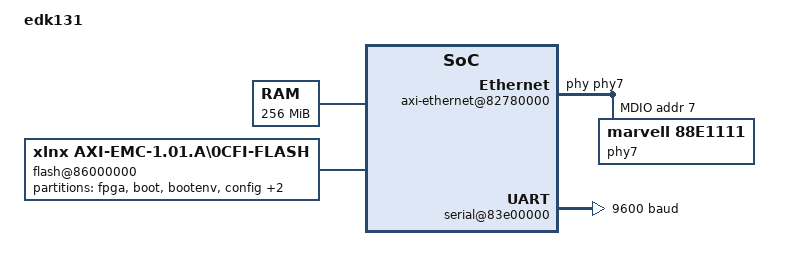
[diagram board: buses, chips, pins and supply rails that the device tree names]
/*
 * Copyright (c) 2020 Xilinx Inc.
 * Written by Edgar E. Iglesias <edgar.iglesias@xilinx.com>.
 *
 * SPDX-License-Identifier:     GPL-2.0+
 */

/dts-v1/;

/ {
	#address-cells = < 0x01 >;
	#size-cells = < 0x01 >;
	compatible = "xlnx,microblaze";
	model = "edk131";

	memory@50000000 {
		device_type = "memory";
		reg = < 0x50000000 0x10000000 >;
	};

	aliases {
		ethernet0 = "/axi/axi-ethernet@82780000";
		serial0 = "/axi/serial@83e00000";
	};

	chosen {
		bootargs = " console=ttyS0,115200 ";
		stdout-path = "/axi/serial@83e00000";
	};

	cpus {
		#address-cells = < 0x01 >;
		#cpus = < 0x01 >;
		#size-cells = < 0x00 >;

		cpu@0 {
			clock-frequency = < 0xbebc200 >;
			compatible = "xlnx,microblaze-8.10.a";
			d-cache-baseaddr = < 0x50000000 >;
			d-cache-highaddr = < 0x5fffffff >;
			d-cache-line-size = < 0x20 >;
			d-cache-size = < 0x800 >;
			device_type = "cpu";
			i-cache-baseaddr = < 0x50000000 >;
			i-cache-highaddr = < 0x5fffffff >;
			i-cache-line-size = < 0x20 >;
			i-cache-size = < 0x800 >;
			model = "microblaze,8.10.a";
			reg = < 0x00 >;
			timebase-frequency = < 0xbebc200 >;
			xlnx,addr-tag-bits = < 0x11 >;
			xlnx,allow-dcache-wr = < 0x01 >;
			xlnx,allow-icache-wr = < 0x01 >;
			xlnx,area-optimized = < 0x00 >;
			xlnx,branch-target-cache-size = < 0x00 >;
			xlnx,cache-byte-size = < 0x800 >;
			xlnx,d-axi = < 0x01 >;
			xlnx,d-lmb = < 0x01 >;
			xlnx,d-plb = < 0x00 >;
			xlnx,data-size = < 0x20 >;
			xlnx,dcache-addr-tag = < 0x11 >;
			xlnx,dcache-always-used = < 0x01 >;
			xlnx,dcache-byte-size = < 0x800 >;
			xlnx,dcache-data-width = < 0x00 >;
			xlnx,dcache-force-tag-lutram = < 0x00 >;
			xlnx,dcache-interface = < 0x01 >;
			xlnx,dcache-line-len = < 0x08 >;
			xlnx,dcache-use-fsl = < 0x00 >;
			xlnx,dcache-use-writeback = < 0x01 >;
			xlnx,dcache-victims = < 0x00 >;
			xlnx,debug-enabled = < 0x01 >;
			xlnx,div-zero-exception = < 0x01 >;
			xlnx,dynamic-bus-sizing = < 0x01 >;
			xlnx,ecc-use-ce-exception = < 0x00 >;
			xlnx,edge-is-positive = < 0x01 >;
			xlnx,endianness = < 0x01 >;
			xlnx,family = "virtex6";
			xlnx,fault-tolerant = < 0x00 >;
			xlnx,fpu-exception = < 0x01 >;
			xlnx,freq = < 0xbebc200 >;
			xlnx,fsl-data-size = < 0x20 >;
			xlnx,fsl-exception = < 0x00 >;
			xlnx,fsl-links = < 0x00 >;
			xlnx,i-axi = < 0x01 >;
			xlnx,i-lmb = < 0x01 >;
			xlnx,i-plb = < 0x00 >;
			xlnx,icache-always-used = < 0x01 >;
			xlnx,icache-data-width = < 0x00 >;
			xlnx,icache-force-tag-lutram = < 0x00 >;
			xlnx,icache-interface = < 0x00 >;
			xlnx,icache-line-len = < 0x08 >;
			xlnx,icache-streams = < 0x00 >;
			xlnx,icache-use-fsl = < 0x00 >;
			xlnx,icache-victims = < 0x00 >;
			xlnx,ill-opcode-exception = < 0x01 >;
			xlnx,instance = "microblaze_0";
			xlnx,interconnect = < 0x02 >;
			xlnx,interrupt-is-edge = < 0x00 >;
			xlnx,mmu-dtlb-size = < 0x04 >;
			xlnx,mmu-itlb-size = < 0x02 >;
			xlnx,mmu-privileged-instr = < 0x00 >;
			xlnx,mmu-tlb-access = < 0x03 >;
			xlnx,mmu-zones = < 0x02 >;
			xlnx,number-of-pc-brk = < 0x01 >;
			xlnx,number-of-rd-addr-brk = < 0x00 >;
			xlnx,number-of-wr-addr-brk = < 0x00 >;
			xlnx,opcode-0x0-illegal = < 0x01 >;
			xlnx,optimization = < 0x00 >;
			xlnx,pvr = < 0x02 >;
			xlnx,pvr-user1 = < 0x00 >;
			xlnx,pvr-user2 = < 0x00 >;
			xlnx,reset-msr = < 0x00 >;
			xlnx,sco = < 0x00 >;
			xlnx,stream-interconnect = < 0x00 >;
			xlnx,unaligned-exceptions = < 0x01 >;
			xlnx,use-barrel = < 0x01 >;
			xlnx,use-branch-target-cache = < 0x00 >;
			xlnx,use-dcache = < 0x01 >;
			xlnx,use-div = < 0x01 >;
			xlnx,use-ext-brk = < 0x01 >;
			xlnx,use-ext-nm-brk = < 0x01 >;
			xlnx,use-extended-fsl-instr = < 0x00 >;
			xlnx,use-fpu = < 0x01 >;
			xlnx,use-hw-mul = < 0x02 >;
			xlnx,use-icache = < 0x01 >;
			xlnx,use-interrupt = < 0x01 >;
			xlnx,use-mmu = < 0x03 >;
			xlnx,use-msr-instr = < 0x01 >;
			xlnx,use-pcmp-instr = < 0x01 >;
			xlnx,use-stack-protection = < 0x00 >;
		};
	};

	axi {
		#address-cells = < 0x01 >;
		#size-cells = < 0x01 >;
		compatible = "xlnx,axi-interconnect-1.02.a\0simple-bus";
		ranges;

		axi-ethernet@82780000 {
			axistream-connected = < &axi_dma >;
			compatible = "xlnx,axi-ethernet-2.01.a\0xlnx,axi-ethernet-1.00.a";
			device_type = "network";
			interrupt-parent = < &intc >;
			interrupts = < 0x03 0x02 >;
			local-mac-address = [ 00 0a 35 00 22 01 ];
			phy-handle = < &phy7 >;
			reg = < 0x82780000 0x40000 >;
			xlnx,avb = < 0x00 >;
			xlnx,halfdup = < 0x00 >;
			xlnx,include-io = < 0x01 >;
			xlnx,mcast-extend = < 0x00 >;
			xlnx,phy-type = < 0x01 >;
			xlnx,phyaddr = "0B00001";
			xlnx,rxcsum = < 0x00 >;
			xlnx,rxmem = < 0x1000 >;
			xlnx,rxvlan-strp = < 0x00 >;
			xlnx,rxvlan-tag = < 0x00 >;
			xlnx,rxvlan-tran = < 0x00 >;
			xlnx,stats = < 0x00 >;
			xlnx,txcsum = < 0x00 >;
			xlnx,txmem = < 0x1000 >;
			xlnx,txvlan-strp = < 0x00 >;
			xlnx,txvlan-tag = < 0x00 >;
			xlnx,txvlan-tran = < 0x00 >;
			xlnx,type = < 0x02 >;

			mdio {
				#address-cells = < 0x01 >;
				#size-cells = < 0x00 >;

				phy7: phy@7 {
					compatible = "marvell,88e1111";
					device_type = "ethernet-phy";
					reg = < 0x07 >;
				};
			};
		};

		axi_dma: axi-dma@84600000 {
			compatible = "xlnx,axi-dma-3.00.a";
			interrupt-parent = < &intc >;
			interrupts = < 0x01 0x02 0x00 0x02 >;
			reg = < 0x84600000 0x10000 >;
			xlnx,dlytmr-resolution = < 0x4e2 >;
			xlnx,family = "virtex6";
			xlnx,include-mm2s = < 0x01 >;
			xlnx,include-mm2s-dre = < 0x01 >;
			xlnx,include-s2mm = < 0x01 >;
			xlnx,include-s2mm-dre = < 0x01 >;
			xlnx,mm2s-burst-size = < 0x10 >;
			xlnx,prmry-is-aclk-async = < 0x00 >;
			xlnx,s2mm-burst-size = < 0x10 >;
			xlnx,sg-include-desc-queue = < 0x01 >;
			xlnx,sg-include-stscntrl-strm = < 0x01 >;
			xlnx,sg-length-width = < 0x10 >;
			xlnx,sg-use-stsapp-length = < 0x01 >;
		};

		serial@83e00000 {
			clock-frequency = < 0x5f5e100 >;
			compatible = "xlnx,axi-uart16550-1.01.a\0xlnx,xps-uart16550-2.00.a\0ns16550a";
			current-speed = < 0x2580 >;
			device_type = "serial";
			interrupt-parent = < &intc >;
			interrupts = < 0x05 0x02 >;
			reg = < 0x83e00000 0x10000 >;
			reg-offset = < 0x1000 >;
			reg-shift = < 0x02 >;
			xlnx,external-xin-clk-hz = < 0x17d7840 >;
			xlnx,family = "virtex6";
			xlnx,has-external-rclk = < 0x00 >;
			xlnx,has-external-xin = < 0x00 >;
			xlnx,is-a-16550 = < 0x01 >;
			xlnx,use-modem-ports = < 0x00 >;
			xlnx,use-user-ports = < 0x00 >;
		};

		system-timer@83c00000 {
			clock-frequency = < 0x5f5e100 >;
			compatible = "xlnx,axi-timer-1.01.a\0xlnx,xps-timer-1.00.a";
			interrupt-parent = < &intc >;
			interrupts = < 0x02 0x00 >;
			reg = < 0x83c00000 0x10000 >;
			xlnx,count-width = < 0x20 >;
			xlnx,family = "virtex6";
			xlnx,gen0-assert = < 0x01 >;
			xlnx,gen1-assert = < 0x01 >;
			xlnx,one-timer-only = < 0x00 >;
			xlnx,trig0-assert = < 0x01 >;
			xlnx,trig1-assert = < 0x01 >;
		};

		intc: interrupt-controller@81800000 {
			#interrupt-cells = < 0x02 >;
			compatible = "xlnx,axi-intc-1.01.a\0xlnx,xps-intc-1.00.a";
			interrupt-controller;
			reg = < 0x81800000 0x10000 >;
			xlnx,kind-of-intr = < 0x04 >;
			xlnx,num-intr-inputs = < 0x06 >;
		};

		flash@86000000 {
			#address-cells = < 0x01 >;
			#size-cells = < 0x01 >;
			bank-width = < 0x02 >;
			compatible = "xlnx,axi-emc-1.01.a\0cfi-flash";
			reg = < 0x86000000 0x2000000 >;
			xlnx,axi-clk-period-ps = < 0x2710 >;
			xlnx,family = "virtex6";
			xlnx,include-datawidth-matching-0 = < 0x01 >;
			xlnx,include-datawidth-matching-1 = < 0x00 >;
			xlnx,include-datawidth-matching-2 = < 0x00 >;
			xlnx,include-datawidth-matching-3 = < 0x00 >;
			xlnx,include-negedge-ioregs = < 0x00 >;
			xlnx,max-mem-width = < 0x10 >;
			xlnx,mem0-type = < 0x02 >;
			xlnx,mem0-width = < 0x10 >;
			xlnx,mem1-type = < 0x00 >;
			xlnx,mem1-width = < 0x20 >;
			xlnx,mem2-type = < 0x00 >;
			xlnx,mem2-width = < 0x20 >;
			xlnx,mem3-type = < 0x00 >;
			xlnx,mem3-width = < 0x20 >;
			xlnx,num-banks-mem = < 0x01 >;
			xlnx,parity-type-mem-0 = < 0x00 >;
			xlnx,parity-type-mem-1 = < 0x00 >;
			xlnx,parity-type-mem-2 = < 0x00 >;
			xlnx,parity-type-mem-3 = < 0x00 >;
			xlnx,s-axi-en-reg = < 0x00 >;
			xlnx,s-axi-mem-addr-width = < 0x20 >;
			xlnx,s-axi-mem-data-width = < 0x20 >;
			xlnx,s-axi-mem-id-width = < 0x01 >;
			xlnx,s-axi-mem-protocol = "AXI4LITE";
			xlnx,s-axi-reg-addr-width = < 0x20 >;
			xlnx,s-axi-reg-data-width = < 0x20 >;
			xlnx,s-axi-reg-protocol = "axi4";
			xlnx,synch-pipedelay-0 = < 0x02 >;
			xlnx,synch-pipedelay-1 = < 0x02 >;
			xlnx,synch-pipedelay-2 = < 0x02 >;
			xlnx,synch-pipedelay-3 = < 0x02 >;
			xlnx,tavdv-ps-mem-0 = < 0x1fbd0 >;
			xlnx,tavdv-ps-mem-1 = < 0x3a98 >;
			xlnx,tavdv-ps-mem-2 = < 0x3a98 >;
			xlnx,tavdv-ps-mem-3 = < 0x3a98 >;
			xlnx,tcedv-ps-mem-0 = < 0x1fbd0 >;
			xlnx,tcedv-ps-mem-1 = < 0x3a98 >;
			xlnx,tcedv-ps-mem-2 = < 0x3a98 >;
			xlnx,tcedv-ps-mem-3 = < 0x3a98 >;
			xlnx,thzce-ps-mem-0 = < 0x88b8 >;
			xlnx,thzce-ps-mem-1 = < 0x1b58 >;
			xlnx,thzce-ps-mem-2 = < 0x1b58 >;
			xlnx,thzce-ps-mem-3 = < 0x1b58 >;
			xlnx,thzoe-ps-mem-0 = < 0x1b58 >;
			xlnx,thzoe-ps-mem-1 = < 0x1b58 >;
			xlnx,thzoe-ps-mem-2 = < 0x1b58 >;
			xlnx,thzoe-ps-mem-3 = < 0x1b58 >;
			xlnx,tlzwe-ps-mem-0 = < 0x88b8 >;
			xlnx,tlzwe-ps-mem-1 = < 0x00 >;
			xlnx,tlzwe-ps-mem-2 = < 0x00 >;
			xlnx,tlzwe-ps-mem-3 = < 0x00 >;
			xlnx,tpacc-ps-flash-0 = < 0x61a8 >;
			xlnx,tpacc-ps-flash-1 = < 0x61a8 >;
			xlnx,tpacc-ps-flash-2 = < 0x61a8 >;
			xlnx,tpacc-ps-flash-3 = < 0x61a8 >;
			xlnx,twc-ps-mem-0 = < 0x32c8 >;
			xlnx,twc-ps-mem-1 = < 0x3a98 >;
			xlnx,twc-ps-mem-2 = < 0x3a98 >;
			xlnx,twc-ps-mem-3 = < 0x3a98 >;
			xlnx,twp-ps-mem-0 = < 0x11170 >;
			xlnx,twp-ps-mem-1 = < 0x2ee0 >;
			xlnx,twp-ps-mem-2 = < 0x2ee0 >;
			xlnx,twp-ps-mem-3 = < 0x2ee0 >;
			xlnx,twph-ps-mem-0 = < 0x2ee0 >;
			xlnx,twph-ps-mem-1 = < 0x2ee0 >;
			xlnx,twph-ps-mem-2 = < 0x2ee0 >;
			xlnx,twph-ps-mem-3 = < 0x2ee0 >;

			partition@0 {
				label = "fpga";
				reg = < 0x00 0x100000 >;
			};

			partition@100000 {
				label = "boot";
				reg = < 0x100000 0x40000 >;
			};

			partition@140000 {
				label = "bootenv";
				reg = < 0x140000 0x20000 >;
			};

			partition@160000 {
				label = "config";
				reg = < 0x160000 0x20000 >;
			};

			partition@180000 {
				label = "image";
				reg = < 0x180000 0xa00000 >;
			};

			partition@b80000 {
				label = "spare";
				reg = < 0xb80000 0x00 >;
			};
		};
	};
};
